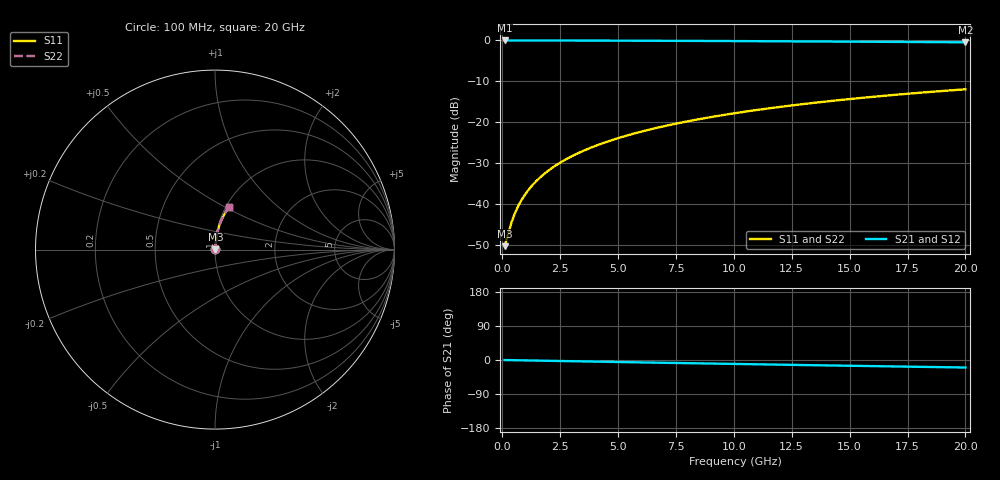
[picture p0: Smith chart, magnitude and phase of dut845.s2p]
! Touchstone file exported from HFSS 2024.1.0
!  File:  C:/UserFiles/LocalFiles/RDL_TSV_Batchsim/temp_RDL_bottom_845_1779863861.aedt
!  Generated:  02:40:49 PM May 27, 2026
!  Design:  RDL_bottom
!  Project:  temp_RDL_bottom_845_1779863861
!  Setup:  Setup1
!  Solution:  Sweep
! Variables:
!  dtsv = 10.80580581um
!  hbump = 3um
!  htsv = 82.63um
!  ldown = 225.01um
!  lrdl = 100um
!  p = 40
!  p1 = 41.33um
!  rhole = 1um
!  t = 450um
!  tdown = 2.61um
!  trdl = 3.915915916um
!  wdown = 12.03um
!  wrdl = 20um
# GHz S MA R 50.000000
! Terminal data exported
! Port[1] = RDL1_T1
! Port[2] = RDL1_T2
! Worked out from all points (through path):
!   200 points, 100 MHz to 20 GHz, reference 50 ohm
!   highest |S21| = -0.02 dB at 100 MHz (marker M1); lowest = -0.5 dB at 20 GHz (marker M2)
!   group delay of S21, straight-line fit = 2.75 ps
!   lowest |S11| = -50.3 dB at 100 MHz (marker M3), VSWR 1.01, Z = 50.3 + j0.133 ohm
!   |S11| at or under -10 dB: start of sweep to end of sweep
!   |S22| runs from -50.3 to -12.0 dB; largest |S21 - S12| = 2e-15
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0.1  0.003045 25.7  0.9973 -0.1  0.9973 -0.1  0.003045 25.7
! Gamma 0 0 0 0
! Port Impedance 50 0 50 0
0.3  0.004845 54.6  0.9972 -0.3  0.9972 -0.3  0.004845 54.6
0.4  0.005972 61.4  0.9971 -0.4  0.9971 -0.4  0.005972 61.4
0.5  0.00715 66.0  0.9971 -0.6  0.9971 -0.6  0.00715 66.0
0.6  0.008351 69.2  0.997 -0.7  0.997 -0.7  0.008351 69.2
0.7  0.009566 71.5  0.9969 -0.8  0.9969 -0.8  0.009566 71.5
0.9  0.01201 74.8  0.9968 -1.0  0.9968 -1.0  0.01201 74.8
1.2  0.01572 77.9  0.9966 -1.3  0.9966 -1.3  0.01572 77.9
1.4  0.0182 79.2  0.9965 -1.5  0.9965 -1.5  0.0182 79.2
1.7  0.02193 80.6  0.9963 -1.8  0.9963 -1.8  0.02193 80.6
2.2  0.0282 82.0  0.9958 -2.4  0.9958 -2.4  0.0282 82.0
2.8  0.03576 82.9  0.9952 -3.0  0.9952 -3.0  0.03576 82.9
3.5  0.04462 83.3  0.9943 -3.7  0.9943 -3.7  0.04462 83.3
4.2  0.05352 83.5  0.9933 -4.5  0.9933 -4.5  0.05352 83.5
5  0.06374 83.4  0.992 -5.3  0.992 -5.3  0.06374 83.4
5.9  0.07528 83.1  0.9902 -6.3  0.9902 -6.3  0.07528 83.1
6.8  0.08686 82.6  0.9883 -7.2  0.9883 -7.2  0.08686 82.6
8.3  0.1062 81.7  0.9847 -8.7  0.9847 -8.7  0.1062 81.7
10.1  0.1294 80.3  0.9799 -10.5  0.9799 -10.5  0.1294 80.3
13.4  0.1715 77.5  0.9699 -13.7  0.9699 -13.7  0.1715 77.5
16.7  0.2126 74.6  0.9588 -16.8  0.9588 -16.8  0.2126 74.6
20  0.2523 71.5  0.9467 -19.8  0.9467 -19.8  0.2523 71.5
